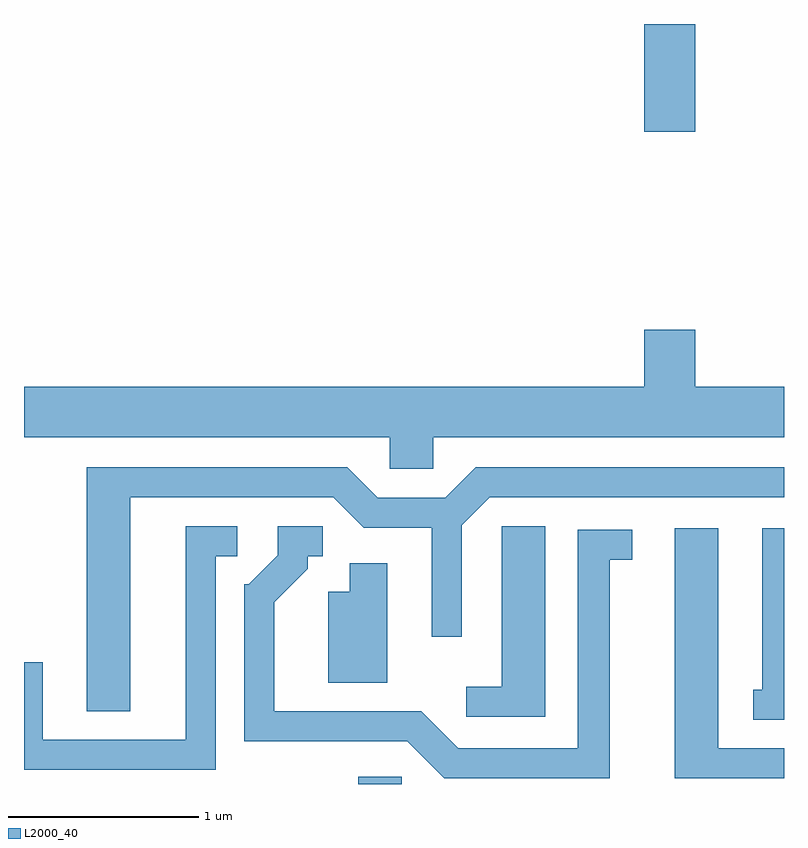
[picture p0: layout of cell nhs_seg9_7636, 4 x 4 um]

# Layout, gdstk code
import gdstk
lib = gdstk.Library(unit=1e-6, precision=1e-09)
def R(c, l, rs):  # rectangles x0, y0, x1, y1
    for r in rs: c.add(gdstk.rectangle(r[:2], r[2:], *l))
def P(c, l, *ps):  # polygons
    for p in ps: c.add(gdstk.Polygon(p, *l))
L2000_40 = (2000, 40)

nhs_seg9_7636 = lib.new_cell('nhs_seg9_7636')
R(nhs_seg9_7636, L2000_40, [(413.371,1994.432,413.599,1994.469), (414.876,1997.866,415.144,1998.432)])
P(nhs_seg9_7636, L2000_40, [(413.764,1996.256),(415.611,1996.256),(415.611,1996.524),(415.144,1996.524),(415.144,1996.824),(414.876,1996.824),(414.876,1996.524),(411.611,1996.524),(411.611,1996.256),(413.536,1996.256),(413.536,1996.091),(413.764,1996.091)],
  [(412.169,1995.941),(413.239,1995.941),(413.399,1995.781),(413.756,1995.781),(413.756,1995.208),(413.914,1995.208),(413.914,1995.794),(414.062,1995.941),(415.611,1995.941),(415.611,1996.099),(413.989,1996.099),(413.829,1995.939),(413.472,1995.939),(413.312,1996.099),(411.941,1996.099),(411.941,1994.816),(412.169,1994.816)],
  [(414.354,1995.789),(414.126,1995.789),(414.126,1994.944),(413.938,1994.944),(413.938,1994.786),(414.354,1994.786)],
  [(414.694,1995.611),(414.813,1995.611),(414.813,1995.769),(414.526,1995.769),(414.526,1994.619),(413.897,1994.619),(413.702,1994.814),(412.929,1994.814),(412.929,1995.389),(413.104,1995.564),(413.104,1995.631),(413.183,1995.631),(413.183,1995.789),(412.946,1995.789),(412.946,1995.637),(412.794,1995.484),(412.771,1995.484),(412.771,1994.656),(413.629,1994.656),(413.824,1994.461),(414.694,1994.461)],
  [(412.619,1995.631),(412.733,1995.631),(412.733,1995.789),(412.461,1995.789),(412.461,1994.664),(411.709,1994.664),(411.709,1995.074),(411.611,1995.074),(411.611,1994.506),(412.619,1994.506)],
  [(415.611,1994.619),(415.264,1994.619),(415.264,1995.779),(415.036,1995.779),(415.036,1994.461),(415.611,1994.461)],
  [(415.611,1995.779),(415.496,1995.779),(415.496,1994.929),(415.448,1994.929),(415.448,1994.771),(415.611,1994.771)],
  [(413.524,1995.594),(413.326,1995.594),(413.326,1995.444),(413.211,1995.444),(413.211,1994.966),(413.524,1994.966)])

lib.write_gds('nhs_seg9_7636.gds')
